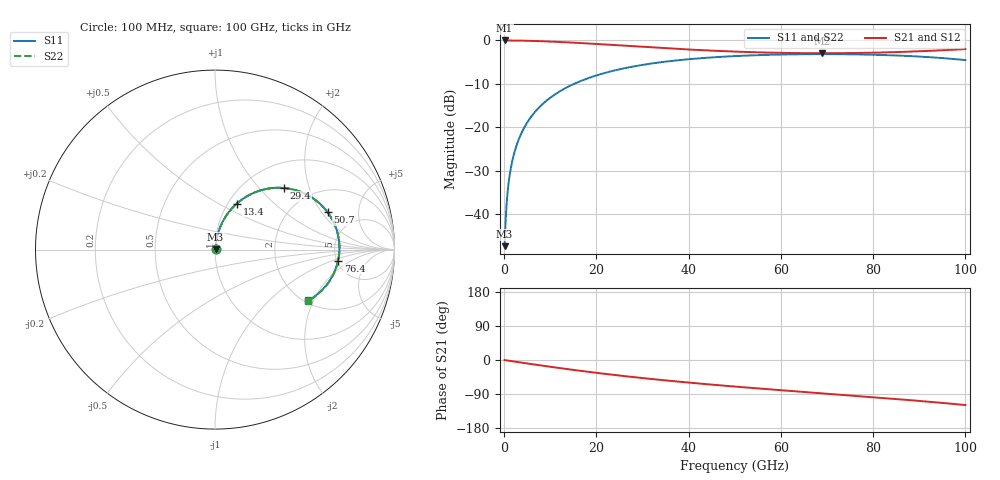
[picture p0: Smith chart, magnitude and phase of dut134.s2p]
! Touchstone file exported from HFSS 2026.1.0
!  File:  C:/ffzhzh/LocalFiles/Ansys_Project_Files/temp_train_RDL_134_1783499648_31944.aedt
!  Generated:  04:35:11 PM Jul  8, 2026
!  Design:  RDL
!  Project:  temp_train_RDL_134_1783499648_31944
! Variables:
!  h_bsmrdl = 2um
!  h_ox = 20um
!  h_rdl = 5um
!  h_sub = 80um
!  h_tmrdl = 3.34um
!  h_tsv = 80um
!  h_via = 3um
!  l_bsmrdl = 300um
!  l_sub = 816.56um
!  l_tmrdl = 416.56um
!  m_sub = 200um
!  pitch = 48.99um
!  r_tsv = 6um
!  s_tmrdl = 10um
!  w_bsmrdl = 18um
!  w_sub = 500um
!  w_tmrdl = 12.87um
!  x_tsv_center1 = 422.995um
!  x_tsv_center2 = 740.995um
!  x_tsv_center3 = 1170.425um
!  x_tsv_center4 = 1488.425um
!  x_tsv_center5 = 1917.855um
!  x_tsv_center6 = 2235.855um
# GHz S MA R 50.000000
! Terminal data exported
! Port[1] = TM_RDL1_1_T1
! Port[2] = TM_RDL1_1_T2
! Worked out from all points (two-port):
!   1000 points, 100 MHz to 100 GHz, reference 50 ohm
!   highest |S21| = -0.03 dB at 100 MHz (marker M1); lowest = -3.0 dB at 69 GHz (marker M2)
!   |S21| within 3 dB of the highest: start of sweep to end of sweep
!   lowest |S11| = -47.4 dB at 100 MHz (marker M3), VSWR 1.01, Z = 50.4 + j0.241 ohm
!   |S11| at or under -10 dB: start of sweep to 15.23 GHz
!   |S22| runs from -47.4 to -3.2 dB; largest |S21 - S12| = 1.4e-14
!   S11 on the Smith chart (normalised r, x): 100 MHz: 1.01, +0.00; 13.4 GHz: 1.10, +0.61; 29.4 GHz: 1.48, +1.38; 50.7 GHz: 3.08, +2.29; 76.4 GHz: 5.13, -1.19; 100 GHz: 2.09, -1.82
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0.1  0.00426 34.1  0.9965 -0.2  0.9965 -0.2  0.00426 34.1
! Gamma 0 0 0 0
! Port Impedance 50 0 50 0
0.4  0.01018 67.9  0.9962 -0.8  0.9962 -0.8  0.01018 67.9
0.8  0.01907 76.5  0.9959 -1.5  0.9959 -1.5  0.01907 76.5
1.3  0.03031 79.7  0.9954 -2.4  0.9954 -2.4  0.03031 79.7
1.7  0.03934 80.6  0.995 -3.1  0.995 -3.1  0.03934 80.6
2.2  0.05063 80.9  0.9943 -4.0  0.9943 -4.0  0.05063 80.9
3.4  0.07762 80.2  0.9922 -6.2  0.9922 -6.2  0.07762 80.2
5.1  0.1153 78.0  0.9878 -9.3  0.9878 -9.3  0.1153 78.0
7.3  0.1626 74.5  0.9801 -13.2  0.9801 -13.2  0.1626 74.5
10.1  0.2201 69.9  0.9676 -18.0  0.9676 -18.0  0.2201 69.9
13.4  0.2834 64.6  0.9499 -23.5  0.9499 -23.5  0.2834 64.6
16.8  0.3432 59.4  0.9292 -29.0  0.9292 -29.0  0.3432 59.3
22.5  0.4304 51.1  0.8915 -37.5  0.8915 -37.5  0.4304 51.0
29.4  0.515 41.9  0.8456 -46.9  0.8456 -46.9  0.515 41.8
33.4  0.5543 36.9  0.8206 -51.9  0.8206 -51.9  0.5544 36.9
50.1  0.6585 19.0  0.7415 -70.2  0.7415 -70.2  0.6585 18.9
50.7  0.6608 18.4  0.7395 -70.8  0.7395 -70.8  0.6608 18.3
66.7  0.6929 3.6  0.7105 -85.9  0.7105 -85.9  0.693 3.5
69  0.6935 1.6  0.7101 -88.0  0.7101 -88.0  0.6935 1.4
76.4  0.6885 -5.1  0.7148 -94.8  0.7148 -94.8  0.6886 -5.3
83.4  0.6738 -11.6  0.728 -101.4  0.728 -101.4  0.6739 -11.8
100  0.592 -28.6  0.7931 -118.9  0.7931 -118.9  0.5921 -28.8
